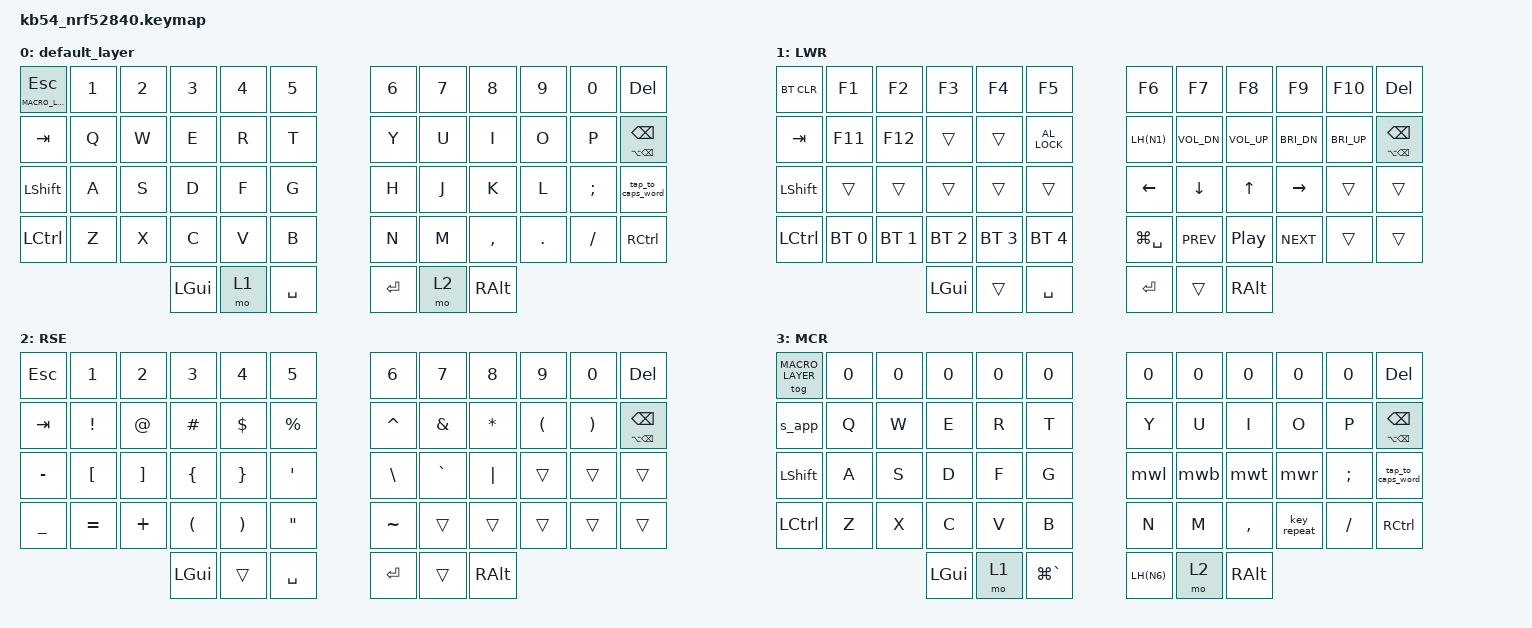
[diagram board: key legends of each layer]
/*
 * Copyright (c) 2020 The ZMK Contributors
 *
 * SPDX-License-Identifier: MIT
 */

#include <behaviors.dtsi>
#include <dt-bindings/zmk/keys.h>
#include <dt-bindings/zmk/bt.h>

#define LEFT_HYPER LS(LC(LA(LGUI)))
#define LH(key) LS(LC(LA(LG(key))))
#define LHYPER LEFT_HYPER
#define OFFICE LEFT_HYPER

#define LEFT_MEH LS(LC(LALT))
#define LM(key) LS(LC(LA(key)))
#define LMEH LEFT_MEH

#define RIGHT_HYPER RS(RC(RA(RGUI)))
#define RH(key) RS(RC(RA(RG(key))))
#define RHYPER RIGHT_HYPER

#define RIGHT_MEH RS(RC(RALT))
#define RM(key) RS(RC(RA(key)))
#define RMEH RIGHT_MEH

// USER DEFINED LAYERS
#define MACRO_LAYER 3

&caps_word {
    continue-list = <UNDERSCORE MINUS DEL BSPC LSHFT RSHFT>;
};

/ {
        combos {
            compatible = "zmk,combos";
            combo_esc_l {
                timeout-ms = <50>;
                key-positions = <27 28>;
                bindings = <&kp ESC>;
                layers = <0 3>;
            };
            combo_esc_r {
                timeout-ms = <50>;
                key-positions = <31 32>;
                bindings = <&kp ESC>;
                layers = <0 3>;
            };
        };
        behaviors {
            hold_to_toggle_layer: behavior_hold_to_toggle_layer {
                compatible = "zmk,behavior-hold-tap";
                #binding-cells = <2>;
                flavor = "hold-preferred";
                tapping-term-ms = <200>;
                bindings = <&tog>, <&kp>;

                label = "HOLD_TO_TOGGLE_LAYER";
                quick-tap-ms = <0>;
            };
            mwbl: behavior_move_window_bottom_left {
                compatible = "zmk,behavior-mod-morph";
                #binding-cells = <0>;
                bindings = <&kp LS(LG(LEFT))>, <&kp LH(N2)>;
                mods = <(MOD_LCTL|MOD_RCTL)>;
            };
            mwtl: behavior_move_window_top_left {
                compatible = "zmk,behavior-mod-morph";
                #binding-cells = <0>;
                bindings = <&mwbl>, <&kp LH(N0)>;
                mods = <(MOD_LSFT|MOD_RSFT)>;
            };
            mwl: behavior_move_window_left {
                compatible = "zmk,behavior-mod-morph";
                #binding-cells = <0>;
                bindings = <&kp LEFT>, <&mwtl>;
                mods = <(MOD_LGUI|MOD_RGUI)>;
            };
            mwbr: behavior_move_window_bottom_right {
                compatible = "zmk,behavior-mod-morph";
                #binding-cells = <0>;
                bindings = <&kp LS(LG(RIGHT))>, <&kp LH(N3)>;
                mods = <(MOD_LCTL|MOD_RCTL)>;
            };
            mwtr: behavior_move_window_top_right {
                compatible = "zmk,behavior-mod-morph";
                #binding-cells = <0>;
                bindings = <&mwbr>, <&kp LH(N1)>;
                mods = <(MOD_LSFT|MOD_RSFT)>;
            };
            mwr: behavior_move_window_right {
                compatible = "zmk,behavior-mod-morph";
                #binding-cells = <0>;
                bindings = <&kp RIGHT>, <&mwtr>;
                mods = <(MOD_LGUI|MOD_RGUI)>;
            };
            mwt: behavior_move_window_top {
                compatible = "zmk,behavior-mod-morph";
                #binding-cells = <0>;
                bindings = <&kp UP>, <&kp LH(N4)>;
                mods = <(MOD_LGUI|MOD_RGUI)>;
            };
            mwb: behavior_move_window_bottom {
                compatible = "zmk,behavior-mod-morph";
                #binding-cells = <0>;
                bindings = <&kp DOWN>, <&kp LH(N5)>;
                mods = <(MOD_LGUI|MOD_RGUI)>;
            };
            s_app: behavior_switch_app {
                compatible = "zmk,behavior-mod-morph";
                #binding-cells = <0>;
                bindings = <&kp LG(TAB)>, <&kp LS(LG(TAB))>;
                mods = <(MOD_LSFT|MOD_RSFT)>;
            };
            tap_to_caps_word: behavior_tap_to_caps_word {
                compatible = "zmk,behavior-tap-dance";
                #binding-cells = <0>;
                tapping-term-ms = <200>;
                bindings = <&kp RSHFT>, <&caps_word>;
            };
        };
        keymap {
                compatible = "zmk,keymap";

                default_layer {
// -----------------------------------------------------------------------------------------
// |  ESC |  1  |  2  |  3  |  4  |  5  |   |  6  |  7   |  8  |  9  |  0  |  DEL |
// |  TAB |  Q  |  W  |  E  |  R  |  T  |   |  Y  |  U   |  I  |  O  |  P  | BSPC |
// | SHFT |  A  |  S  |  D  |  F  |  G  |   |  H  |  J   |  K  |  L  |  ;  | SHFT |
// | CTRL |  Z  |  X  |  C  |  V  |  B  |   |  N  |  M   |  ,  |  .  |  /  | CTRL |
//                    | GUI | LWR | SPC |   | ENT | RSE  | ALT |
                        bindings = <
   &hold_to_toggle_layer MACRO_LAYER ESC  &kp N1 &kp N2 &kp N3   &kp N4 &kp N5    &kp N6  &kp N7 &kp N8    &kp N9  &kp N0   &kp DEL
   &kp TAB                                &kp Q  &kp W  &kp E    &kp R  &kp T     &kp Y   &kp U  &kp I     &kp O   &kp P    &mt LA(BSPC) BSPC
   &kp LSHFT                              &kp A  &kp S  &kp D    &kp F  &kp G     &kp H   &kp J  &kp K     &kp L   &kp SEMI &tap_to_caps_word
   &kp LCTRL                              &kp Z  &kp X  &kp C    &kp V  &kp B     &kp N   &kp M  &kp COMMA &kp DOT &kp FSLH &kp RCTRL
                                                        &kp LGUI &mo 1  &kp SPACE &kp RET &mo 2  &kp RALT
                        >;
                };

                lower_layer {
                    display-name = "LWR";
                    label = "LWR";
// -----------------------------------------------------------------------------------------
// | BTCLR| F1  | F2  | F3  | F4  | F5  |   | F6  | F7  | F8  | F9  | F10 |  DEL |
// |  TAB | F11 | F12 |     |     | LOCK|   | HP_T| VOL-| VOL+| BR- | BR+ | BSPC |
// | SHFT |     |     |     |     |     |   | LFT | DWN |  UP | RGT |     |      |
// | CTRL | BT1 | BT2 | BT3 | BT4 | BT5 |   |HYPER| PRV | P/P | NXT |     |      |
//                    | GUI |     | SPC |   | ENT |     | ALT |
                        bindings = <
   &bt BT_CLR  &kp F1        &kp F2        &kp F3        &kp F4        &kp F5         &kp F6         &kp F7        &kp F8        &kp F9        &kp F10       &kp DEL
   &kp TAB     &kp F11       &kp F12       &trans        &trans        &kp C_AL_LOCK  &kp LH(N1)     &kp C_VOL_DN  &kp C_VOL_UP  &kp C_BRI_DN  &kp C_BRI_UP  &mt LA(BSPC) BSPC
   &kp LSHFT   &trans        &trans        &trans        &trans        &trans         &kp LEFT       &kp DOWN      &kp UP        &kp RIGHT     &trans        &trans
   &kp LCTRL   &bt BT_SEL 0  &bt BT_SEL 1  &bt BT_SEL 2  &bt BT_SEL 3  &bt BT_SEL 4   &kp LG(SPACE)  &kp C_PREV    &kp C_PP      &kp C_NEXT    &trans        &trans
                                           &kp LGUI      &trans        &kp SPACE      &kp RET        &trans        &kp RALT
                        >;
                };

                raise_layer {
                    display-name = "RSE";
                    label = "RSE";
// -----------------------------------------------------------------------------------------
// |  ESC |  1  |  2  |  3  |  4  |  5  |   |  6  |  7  |  8  |  9  |  0  |  DEL |
// |  TAB |  !  |  @  |  #  |  $  |  %  |   |  ^  |  &  |  *  |  (  |  )  | BSPC |
// |   -  |  [  |  ]  |  {  |  }  |  '  |   |  \  |  `  | "|" |     |     |      |
// |   _  |  =  |  +  |  (  |  )  |  "  |   |  ~  |     |     |     |     |      |
//                    | GUI |     | SPC |   | ENT |     | ALT |
                        bindings = <
   &kp ESC    &kp N1     &kp N2    &kp N3    &kp N4    &kp N5     &kp N6     &kp N7    &kp N8     &kp N9    &kp N0    &kp DEL
   &kp TAB    &kp EXCL   &kp AT    &kp HASH  &kp DLLR  &kp PRCNT  &kp CARET  &kp AMPS  &kp ASTRK  &kp LPAR  &kp RPAR  &mt LA(BSPC) BSPC
   &kp MINUS  &kp LBKT   &kp RBKT  &kp LBRC  &kp RBRC  &kp SQT    &kp BSLH   &kp GRAVE &kp PIPE   &trans    &trans    &trans
   &kp UNDER  &kp EQUAL  &kp PLUS  &kp LPAR  &kp RPAR  &kp DQT    &kp TILDE  &trans    &trans     &trans    &trans    &trans
                                   &kp LGUI  &trans    &kp SPACE  &kp RET    &trans    &kp RALT
                        >;
                };

                macro_layer {
                    display-name = "MCR";
                    label = "MCR";
// -----------------------------------------------------------------------------------------
// |      |  1  |  2  |  3  |  4  |  5  |   |  6  |  7   |  8  |  9  |  0  |  DEL |
// |  TAB |  Q  |  W  |  E  |  R  |  T  |   |  Y  |  U   |  I  |  O  |  P  | BSPC |
// | SHFT |  A  |  S  |  D  |  F  |  G  |   |  H  |  J   |  K  |  L  |  ;  | SHFT |
// | CTRL |  Z  |  X  |  C  |  V  |  B  |   |  N  |  M   |  ,  |  .  |  /  | CTRL |
//                    | GUI | LWR | SPC |   | ENT | RSE  | ALT |
                        bindings = <
   &tog MACRO_LAYER &kp N0 &kp N0 &kp N0   &kp N0 &kp N0        &kp N0     &kp N0 &kp N0    &kp N0      &kp N0   &kp DEL
   &s_app           &kp Q  &kp W  &kp E    &kp R  &kp T         &kp Y      &kp U  &kp I     &kp O       &kp P    &mt LA(BSPC) BSPC
   &kp  LSHFT       &kp A  &kp S  &kp D    &kp F  &kp G         &mwl       &mwb   &mwt      &mwr        &kp SEMI &tap_to_caps_word
   &kp  LCTRL       &kp Z  &kp X  &kp C    &kp V  &kp B         &kp N      &kp M  &kp COMMA &key_repeat &kp FSLH &kp RCTRL
                                  &kp LGUI &mo 1  &kp LG(GRAVE) &kp LH(N6) &mo 2  &kp RALT
                        >;
                };
        };
};
